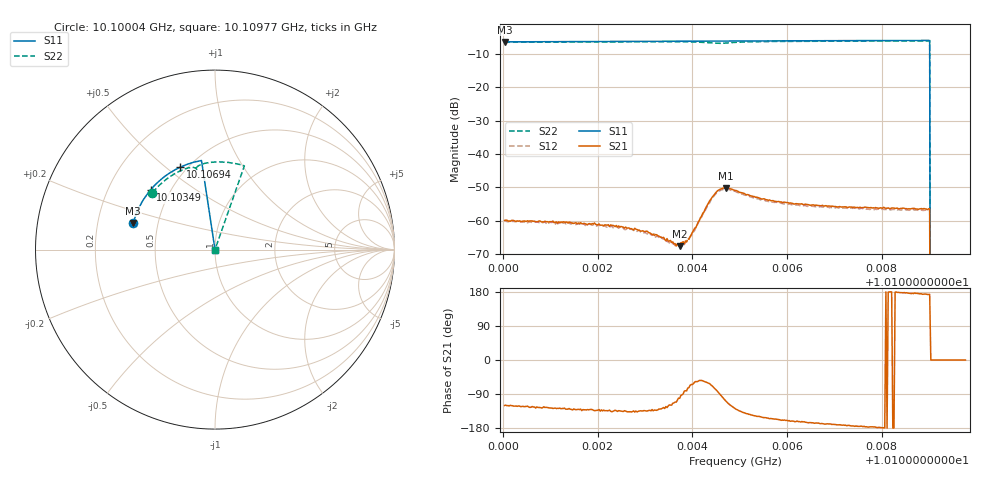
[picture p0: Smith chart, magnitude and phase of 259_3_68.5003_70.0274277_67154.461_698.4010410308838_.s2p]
#  HZ  S  RI  R  50.00
! Rohde & Schwarz Vector Network Analyzer
! Rohde-Schwarz,ZNB20-2Port,1311601062101988,3.16
! Created: UTC 3/20/2024, 5:00:11 PM
! freq[Hz]  re:S11  im:S11  re:S21  im:S21  re:S12  im:S12  re:S22  im:S22
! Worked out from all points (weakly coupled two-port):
!   401 points, 10.10004 GHz to 10.10977 GHz, reference 50 ohm
!   highest |S21| = -50.21 dB at 10.10471 GHz (marker M1); lowest = -67.6 dB at 10.10373 GHz (marker M2)
!   lowest |S11| = -6.4 dB at 10.10004 GHz (marker M3), VSWR 2.84, Z = 18 + j6.91 ohm
!   |S11| at or under -10 dB: 10.10901 GHz to end of sweep
!   |S22| runs from - to -6.1 dB; largest |S21 - S12| = 0.00032
!   S11 on the Smith chart (normalised r, x): 10.10004 GHz: 0.36, +0.14; 10.10349 GHz: 0.39, +0.34; 10.10694 GHz: 0.46, +0.56; 10.10977 GHz: 1.00, +0.00
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1.0100035e10  -0.4551 0.1478  -0.000505 -0.000876  -0.000445 -0.000866  -0.3483 0.3173
1.0101665e10  -0.42 0.2406  -0.000619 -0.000652  -0.000523 -0.000697  -0.2727 0.3906
1.0102687e10  -0.3885 0.294  -0.000547 -0.00052  -0.000474 -0.000574  -0.2167 0.4271
1.0103003e10  -0.3772 0.3096  -0.000475 -0.000494  -0.000426 -0.000518  -0.1979 0.4369
1.0103295e10  -0.3666 0.3237  -0.000372 -0.000451  -0.000351 -0.000442  -0.1797 0.445
1.010349e10  -0.359 0.3328  -0.000256 -0.000421  -0.000231 -0.000421  -0.167 0.4499
1.0103685e10  -0.3514 0.3418  -0.000124 -0.000435  -7.08e-05 -0.000408  -0.1537 0.4541
1.0103733e10  -0.3494 0.344  -8.06e-05 -0.000408  -3.76e-05 -0.000443  -0.1504 0.4549
1.0103831e10  -0.3454 0.3484  6.19e-05 -0.000444  8.5e-05 -0.000429  -0.1433 0.4565
1.0103928e10  -0.3413 0.3527  0.000153 -0.000502  0.000213 -0.00049  -0.136 0.4577
1.0104341e10  -0.3237 0.3703  0.000883 -0.00161  0.000967 -0.00149  -0.1054 0.4517
1.0104463e10  -0.3183 0.3754  0.000659 -0.00236  0.00086 -0.00221  -0.1019 0.4455
1.0104585e10  -0.3128 0.3803  -6.01e-05 -0.00295  0.000183 -0.0028  -0.1041 0.4424
1.0104706e10  -0.3073 0.3852  -0.000963 -0.00293  -0.00071 -0.00288  -0.1067 0.4466
1.0104901e10  -0.2983 0.3928  -0.00174 -0.00223  -0.0015 -0.00232  -0.1018 0.4586
1.0105655e10  -0.262 0.4204  -0.0018 -0.000864  -0.00167 -0.000978  -0.0523 0.4816
1.0106531e10  -0.2167 0.4477  -0.00167 -0.000426  -0.00154 -0.000553  0.00623 0.4882
1.0106945e10  -0.1942 0.4589  -0.00162 -0.000281  -0.0015 -0.000434  0.0332 0.4885
1.0108161e10  -0.1254 0.4847  -0.00152 7.95e-06  -0.00146 -0.000127  0.111 0.4799
1.0108964e10  -0.078 0.496  -0.00145 0.000178  -0.00143 1.67e-05  0.1608 0.4674
1.0109086e10  0 0  0 0  0 0  0 0
1.0109767e10  0 0  0 0  0 0  0 0
